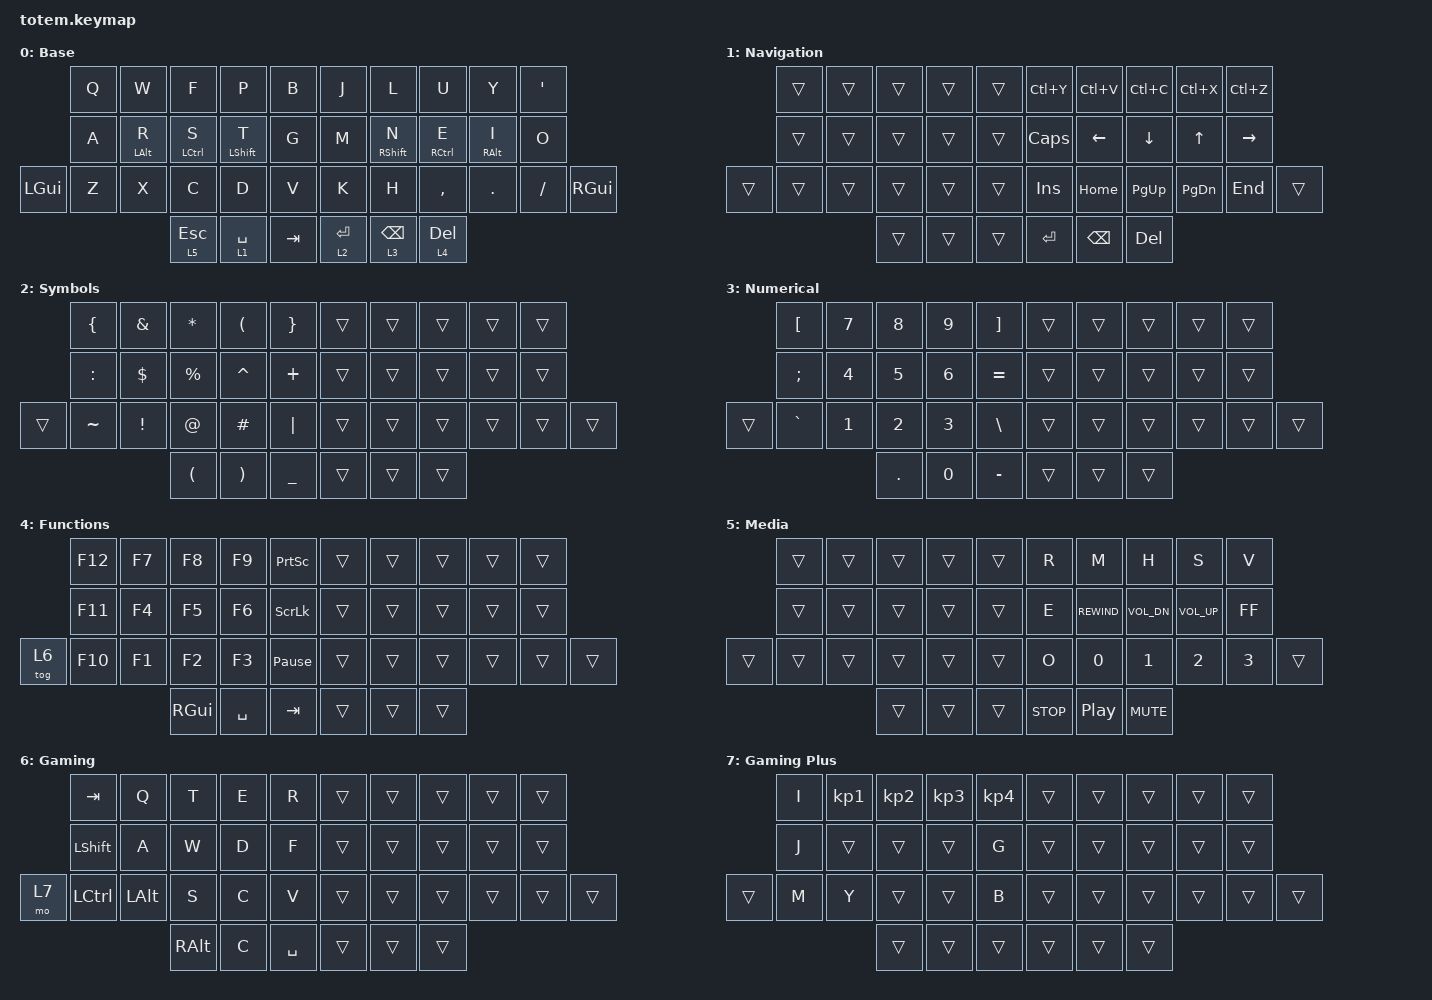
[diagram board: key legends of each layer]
//
//                                                        ▀▀▀▀▀     ▀▀▀▀▀          ▀▀█▀▀
//                                                        ▄▀▀▀▄  ▄  ▄▀▀▀▄  ▄  ▄▀▀▀▄  █  ▄▀▀▀▄
//                                                        █   █  █  █   █  █  █   █  █  █   █
//                                                         ▀▀▀   █   ▀▀▀   █   ▀▀▀   ▀   ▀▀▀
//                                                               █      ▄▄▄█▄▄▄    █   █  
//                                                               ▀      █  █  █     █▄█
//                                                             ▀▀▀▀▀    █  █  █      ▀
//                                                                      ▀  ▀  ▀
//
// ▄▄▄▄▄▄▄▄▄▄▄▄▄▄▄▄▄▄▄▄▄▄▄▄▄▄▄▄▄▄▄▄▄▄▄▄▄▄▄▄▄▄▄▄▄▄▄▄▄▄▄▄▄▄▄▄▄▄▄▄▄▄▄▄▄▄▄▄▄▄▄▄▄▄▄▄▄▄▄▄▄▄▄▄▄▄▄▄▄▄▄▄▄▄▄▄▄▄▄▄▄▄▄▄▄▄▄▄▄▄▄▄▄▄▄▄▄▄▄▄▄▄▄▄▄▄▄▄▄▄▄▄▄▄▄▄▄▄▄▄▄▄▄▄▄▄▄▄▄

#include <behaviors.dtsi>
#include <dt-bindings/zmk/keys.h>

#define Base        0
#define Media       1
#define Nav         2
#define Mouse       3
#define Sym         4
#define Num         5
#define Fun         6
#define Button      7
#define Game        8
#define Gameplus    9

&mt {
    quick-tap-ms = <100>;
    global-quick-tap;
    flavor = "tap-preferred";
    tapping-term-ms = <170>;
};

&lt {
    tapping-term-ms = <240>;
    flavor = "balanced";
    quick-tap-ms = <150>;
};

/ {
    behaviors {
        hm: homerow_mods {
            compatible = "zmk,behavior-hold-tap";
            label = "HOMEROW_MODS";
            #binding-cells = <2>;
            flavor = "tap-preferred";
            tapping-term-ms = <200>;
            quick-tap-ms = <125>;
            global-quick-tap;
            bindings = <&kp>, <&kp>;
        };
    };

    combos { compatible = "zmk,combos"; };

    keymap {
        compatible = "zmk,keymap";

        Base {
            label = "Base";
            bindings = <
          &kp Q  &kp W       &kp F         &kp P         &kp B        &kp J         &kp L            &kp U         &kp Y       &kp SQT
          &kp A  &hm LALT R  &hm LCTRL S   &hm LSHIFT T  &kp G        &kp M         &hm RSHFT N      &hm RCTRL E   &hm RALT I  &kp O
&kp LGUI  &kp Z  &kp X       &kp C         &kp D         &kp V        &kp K         &kp H            &kp COMMA     &kp DOT     &kp SLASH  &kp RGUI
                             &lt 5 ESCAPE  &lt 1 SPACE   &kp TAB      &lt 2 RETURN  &lt 3 BACKSPACE  &lt 4 DELETE
            >;
        };

        NAV {
            label = "Navigation";
            bindings = <
        &trans  &trans  &trans  &trans  &trans    &kp LC(Y)     &kp LC(V)      &kp LC(C)    &kp LC(X)      &kp LC(Z)
        &trans  &trans  &trans  &trans  &trans    &kp CAPSLOCK  &kp LEFT       &kp DOWN     &kp UP         &kp RIGHT
&trans  &trans  &trans  &trans  &trans  &trans    &kp INSERT    &kp HOME       &kp PAGE_UP  &kp PAGE_DOWN  &kp END    &trans
                        &trans  &trans  &trans    &kp ENTER     &kp BACKSPACE  &kp DEL
            >;
        };

        SYM {
            label = "Symbols";
            bindings = <
        &kp LEFT_BRACE  &kp AMPERSAND    &kp ASTERISK          &kp LEFT_PARENTHESIS   &kp RIGHT_BRACE    &trans  &trans  &trans  &trans  &trans
        &kp COLON       &kp DOLLAR       &kp PERCENT           &kp CARET              &kp PLUS           &trans  &trans  &trans  &trans  &trans
&trans  &kp TILDE       &kp EXCLAMATION  &kp AT_SIGN           &kp HASH               &kp PIPE           &trans  &trans  &trans  &trans  &trans  &trans
                                         &kp LEFT_PARENTHESIS  &kp RIGHT_PARENTHESIS  &kp UNDERSCORE     &trans  &trans  &trans
            >;
        };

        NUM {
            bindings = <
        &kp LEFT_BRACKET  &kp NUMBER_7  &kp NUMBER_8  &kp NUMBER_9  &kp RIGHT_BRACKET    &trans  &trans  &trans  &trans  &trans
        &kp SEMICOLON     &kp NUMBER_4  &kp NUMBER_5  &kp NUMBER_6  &kp EQUAL            &trans  &trans  &trans  &trans  &trans
&trans  &kp GRAVE         &kp NUMBER_1  &kp NUMBER_2  &kp NUMBER_3  &kp BACKSLASH        &trans  &trans  &trans  &trans  &trans  &trans
                                        &kp PERIOD    &kp NUMBER_0  &kp MINUS            &trans  &trans  &trans
            >;

            label = "Numerical";
        };

        FUN {
            label = "Functions";
            bindings = <
        &kp F12  &kp F7  &kp F8         &kp F9     &kp PRINTSCREEN    &trans  &trans  &trans  &trans  &trans
        &kp F11  &kp F4  &kp F5         &kp F6     &kp SCROLLLOCK     &trans  &trans  &trans  &trans  &trans
&tog 6  &kp F10  &kp F1  &kp F2         &kp F3     &kp PAUSE_BREAK    &trans  &trans  &trans  &trans  &trans  &trans
                         &kp RIGHT_GUI  &kp SPACE  &kp TAB            &trans  &trans  &trans
            >;
        };

        MED {
            bindings = <
        &trans  &trans  &trans  &trans  &trans    &kp R       &kp M             &kp H         &kp S         &kp V
        &trans  &trans  &trans  &trans  &trans    &kp E       &kp C_REWIND      &kp C_VOL_DN  &kp C_VOL_UP  &kp C_FF
&trans  &trans  &trans  &trans  &trans  &trans    &kp O       &kp NUMBER_0      &kp NUMBER_1  &kp NUMBER_2  &kp NUMBER_3  &trans
                        &trans  &trans  &trans    &kp C_STOP  &kp C_PLAY_PAUSE  &kp C_MUTE
            >;

            label = "Media";
        };

        GAME {
            bindings = <
       &kp TAB         &kp Q         &kp T          &kp E  &kp R        &trans  &trans  &trans  &trans  &trans
       &kp LEFT_SHIFT  &kp A         &kp W          &kp D  &kp F        &trans  &trans  &trans  &trans  &trans
&mo 7  &kp LCTRL       &kp LEFT_ALT  &kp S          &kp C  &kp V        &trans  &trans  &trans  &trans  &trans  &trans
                                     &kp RIGHT_ALT  &kp C  &kp SPACE    &trans  &trans  &trans
            >;

            label = "Gaming";
        };

        GAME+ {
            bindings = <
        &kp I  &kp KP_NUMBER_1  &kp KP_NUMBER_2  &kp KP_NUMBER_3  &kp KP_NUMBER_4    &trans  &trans  &trans  &trans  &trans
        &kp J  &trans           &trans           &trans           &kp G              &trans  &trans  &trans  &trans  &trans
&trans  &kp M  &kp Y            &trans           &trans           &kp B              &trans  &trans  &trans  &trans  &trans  &trans
                                &trans           &trans           &trans             &trans  &trans  &trans
            >;

            label = "Gaming Plus";
        };
    };
};
